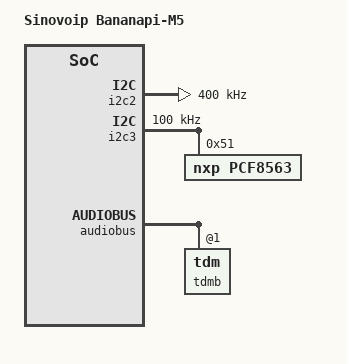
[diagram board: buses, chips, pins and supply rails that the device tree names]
#include "sm1_s905x3_4g_1gbit.dts"

/{
	model = "Sinovoip Bananapi-M5";
	/delete-property/ amlogic-dt-id;
	coreelec-dt-id = "sm1_s905x3_bananapi_m5";

	/delete-node/ rtc;
	/delete-node/ aml_bt;
	/delete-node/ aml_wifi;
	/delete-node/ wifi_pwm_conf;

	auge_sound {
		/delete-property/ avout_mute-gpios;
	};

	cpu_opp_table0: cpu_opp_table0 {
		opp12 {
			opp-hz = /bits/ 64 <2016000000>;
			opp-microvolt = <1010000>;
		};
		opp13 {
			opp-hz = /bits/ 64 <2100000000>;
			opp-microvolt = <1030000>;
		};
	};

	cpus:cpus {
		cpu-map {
			cluster0:cluster0 {
				stock_freq = <1908>;
			};
		};
	};

	gpioleds {
		sys_led {
			gpios = <&gpio_ao GPIOAO_11 GPIO_ACTIVE_HIGH>;
			linux,default-trigger = "heartbeat";
		};
		green_led {
			gpios = <&gpio_ao GPIOAO_2 GPIO_ACTIVE_LOW>;
			linux,default-trigger = "none";
		};
	};

	gpio-reset {
		compatible = "linux,gpio-reset";
		usb_hub {
			gpios = <&gpio GPIOH_4 GPIO_ACTIVE_HIGH>;
			asserted-state = <0>;
			duration-ms = <100>;
		};
	};

	unifykey {
		unifykey-num = <1>;
		unifykey-index-0 = <&keysn_0>;

		keysn_0: key_0 {
			key-name = "usid";
			key-device = "normal";
			key-permit = "read","write","del";
		};
	};

	onewire {
		compatible = "w1-gpio";
		pinctrl-names = "default";
		gpios = <&gpio GPIOX_7 GPIO_ACTIVE_HIGH>;
		status = "disabled";
	};
};

&i2c0 {
	status = "disabled";
	/delete-property/ pinctrl-names;
	/delete-property/ pinctrl-0;
	/delete-node/ gt9xx@5d;
	/delete-node/ ftxx@38;
};

&i2c2 {
	status = "okay";
	pinctrl-0 = <&i2c2_master_pins1>;
	clock-frequency = <400000>;
};

&i2c3 {
	status = "okay";
	clock-frequency = <100000>;
	pcf8563: rtc@51 {
		compatible = "nxp,pcf8563";
		reg = <0x51>;
	};
};

&audiobus {
	tdmb: tdm@1 {
		/delete-property/ pinctrl-names;
		/delete-property/ pinctrl-0;
	};
};

&pinctrl_periphs {
	/delete-node/ spdifout;

	i2c3_master_pins2: i2c3_pins2 {
		mux {
			drive-strength = <3>;
		};
	};
};

&pinctrl_aobus {
	spdifout: spdifout {
		mux { /* GPIOAO_10 */
			groups = "spdif_ao_out";
			function = "spdif_ao_out";
		};
	};
};

&usb3_phy_v2 {
	otg = <1>;
};

&sd_emmc_a {
	 status = "disabled";
};
